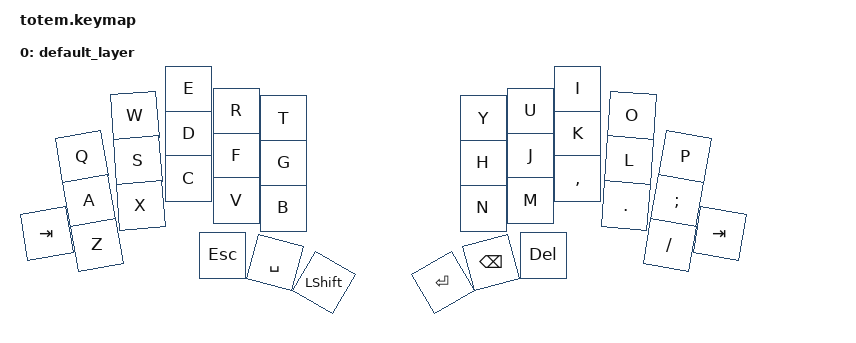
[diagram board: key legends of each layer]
/*
 * Default shield-bundled keymap stub.
 *
 * The active keymap lives in /config/totem.keymap, which ZMK loads in
 * preference to this file when this directory is used as a user config.
 * This stub exists so the shield can also build standalone for testing.
 */

#include <behaviors.dtsi>
#include <dt-bindings/zmk/keys.h>
#include <dt-bindings/zmk/bt.h>

/ {
    keymap {
        compatible = "zmk,keymap";
        default_layer {
            bindings = <
                &kp Q &kp W &kp E &kp R &kp T     &kp Y &kp U &kp I    &kp O   &kp P
                &kp A &kp S &kp D &kp F &kp G     &kp H &kp J &kp K    &kp L   &kp SEMI
       &kp TAB &kp Z &kp X &kp C &kp V &kp B     &kp N &kp M &kp COMMA &kp DOT &kp FSLH &kp TAB
                           &kp ESC &kp SPACE &kp LSHFT     &kp RET &kp BSPC &kp DEL
            >;
        };
    };
};
